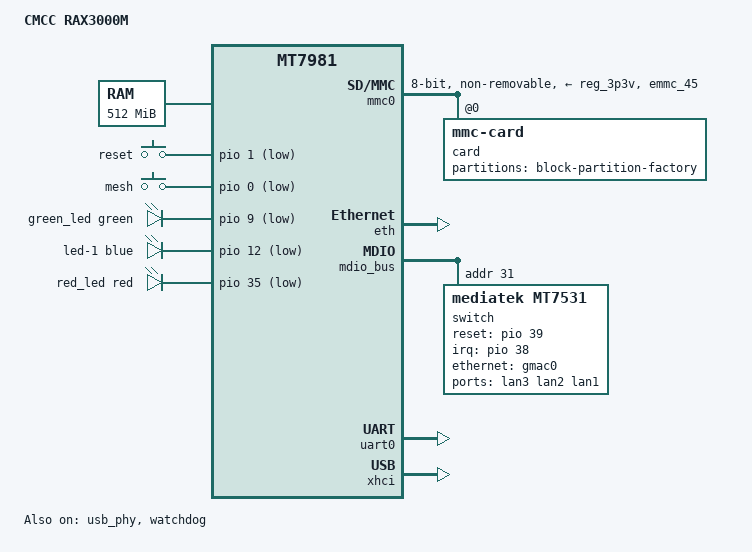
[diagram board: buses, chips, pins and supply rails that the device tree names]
// SPDX-License-Identifier: GPL-2.0-or-later OR MIT
/*
 * Copyright (C) 2023 Tianling Shen <cnsztl@immortalwrt.org>
 */

/dts-v1/;
#include <dt-bindings/gpio/gpio.h>
#include <dt-bindings/input/input.h>
#include <dt-bindings/leds/common.h>

#include "mt7981.dtsi"

/ {
	model = "CMCC RAX3000M";
	compatible = "cmcc,rax3000m-emmc", "mediatek,mt7981";

	aliases {
		led-boot = &red_led;
		led-failsafe = &red_led;
		led-running = &green_led;
		led-upgrade = &green_led;
		serial0 = &uart0;
	};

	chosen: chosen {
		bootargs = "root=PARTLABEL=rootfs rootwait rootfstype=squashfs,f2fs";
		stdout-path = "serial0:115200n8";
	};

	memory {
		reg = <0 0x40000000 0 0x20000000>;
	};

	gpio-keys {
		compatible = "gpio-keys";

		button-reset {
			label = "reset";
			linux,code = <KEY_RESTART>;
			gpios = <&pio 1 GPIO_ACTIVE_LOW>;
		};

		button-mesh {
			label = "mesh";
			linux,code = <BTN_9>;
			linux,input-type = <EV_SW>;
			gpios = <&pio 0 GPIO_ACTIVE_LOW>;
		};
	};

	gpio-leds {
		compatible = "gpio-leds";

		green_led: led-0 {
			function = LED_FUNCTION_STATUS;
			color = <LED_COLOR_ID_GREEN>;
			gpios = <&pio 9 GPIO_ACTIVE_LOW>;
		};

		led-1 {
			function = LED_FUNCTION_STATUS;
			color = <LED_COLOR_ID_BLUE>;
			gpios = <&pio 12 GPIO_ACTIVE_LOW>;
		};

		red_led: led-2 {
			function = LED_FUNCTION_STATUS;
			color = <LED_COLOR_ID_RED>;
			gpios = <&pio 35 GPIO_ACTIVE_LOW>;
		};
	};
};

&mmc0 {
	bus-width = <8>;
	cap-mmc-highspeed;
	max-frequency = <52000000>;
	non-removable;
	pinctrl-names = "default", "state_uhs";
	pinctrl-0 = <&mmc0_pins_default>;
	pinctrl-1 = <&mmc0_pins_uhs>;
	vmmc-supply = <&reg_3p3v>;
	status = "okay";

	card@0 {
		compatible = "mmc-card";
		reg = <0>;

		block {
			compatible = "block-device";

			partitions {
				block-partition-factory {
					partname = "factory";

					nvmem-layout {
						compatible = "fixed-layout";
						#address-cells = <1>;
						#size-cells = <1>;

						eeprom_factory_0: eeprom@0 {
							reg = <0x0 0x1000>;
						};

						macaddr_factory_24: macaddr@24 {
							compatible = "mac-base";
							reg = <0x24 0x6>;
							#nvmem-cell-cells = <1>;
						};

						macaddr_factory_2a: macaddr@2a {
                                                        compatible = "mac-base";
                                                        reg = <0x2a 0x6>;
                                                        #nvmem-cell-cells = <1>;
                                                };
					};
				};
			};
		};
	};
};

&eth {
	status = "okay";

	gmac0: mac@0 {
		compatible = "mediatek,eth-mac";
		reg = <0>;
		phy-mode = "2500base-x";
		
		nvmem-cells = <&macaddr_factory_24 0>;
                nvmem-cell-names = "mac-address";
		fixed-link {
			speed = <2500>;
			full-duplex;
			pause;
		};
	};

	gmac1: mac@1 {
		compatible = "mediatek,eth-mac";
		reg = <1>;
		phy-mode = "gmii";
		phy-handle = <&int_gbe_phy>;

		nvmem-cells = <&macaddr_factory_2a 0>;
                nvmem-cell-names = "mac-address";
	};
};

&mdio_bus {
	switch: switch@1f {
		compatible = "mediatek,mt7531";
		reg = <31>;
		reset-gpios = <&pio 39 GPIO_ACTIVE_HIGH>;
		interrupt-controller;
		#interrupt-cells = <1>;
		interrupt-parent = <&pio>;
		interrupts = <38 IRQ_TYPE_LEVEL_HIGH>;
	};
};

&switch {
	ports {
		#address-cells = <1>;
		#size-cells = <0>;

		port@0 {
			reg = <0>;
			label = "lan3";
		};

		port@1 {
			reg = <1>;
			label = "lan2";
		};

		port@2 {
			reg = <2>;
			label = "lan1";
		};

		port@6 {
			reg = <6>;
			ethernet = <&gmac0>;
			phy-mode = "2500base-x";

			fixed-link {
				speed = <2500>;
				full-duplex;
				pause;
			};
		};
	};
};

&pio {
	mmc0_pins_default: mmc0-pins-default {
		mux {
			function = "flash";
			groups = "emmc_45";
		};
	};

	mmc0_pins_uhs: mmc0-pins-uhs {
		mux {
			function = "flash";
			groups = "emmc_45";
		};
	};
};

&uart0 {
	status = "okay";
};

&usb_phy {
	status = "okay";
};

&watchdog {
	status = "okay";
};

&xhci {
	status = "okay";
};
